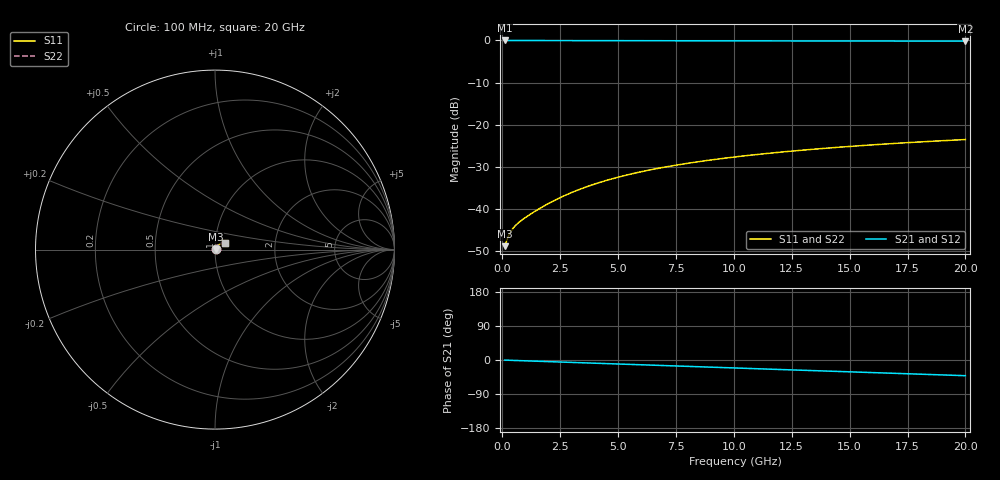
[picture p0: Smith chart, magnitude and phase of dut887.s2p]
! Touchstone file exported from HFSS 2026.1.0
!  File:  C:/ffzhzh/LocalFiles/Ansys_Project_Files/temp_train_BSMRDL_887_1783171156_55132.aedt
!  Generated:  09:20:24 PM Jul  4, 2026
!  Design:  BSMRDL
!  Project:  temp_train_BSMRDL_887_1783171156_55132
! Variables:
!  h_bsmrdl = 3.41um
!  h_ox = 20um
!  h_rdl = 5um
!  h_sub = 80um
!  h_tmrdl = 5um
!  h_tsv = 80um
!  h_via = 3um
!  l_bsmrdl = 732.5um
!  l_sub = 1132.5um
!  l_tmrdl = 200um
!  m_sub = 200um
!  pitch = 29.51um
!  r_tsv = 6um
!  s_tmrdl = 10um
!  w_bsmrdl = 24.04um
!  w_sub = 500um
!  w_tmrdl = 12um
!  x_tsv_center1 = 206um
!  x_tsv_center2 = 962.54um
!  x_tsv_center3 = 1174.54um
!  x_tsv_center4 = 1931.08um
!  x_tsv_center5 = 2143.08um
!  x_tsv_center6 = 2899.62um
# GHz S MA R 50.000000
! Terminal data exported
! Port[1] = BSM_RDL1_1_T1
! Port[2] = BSM_RDL1_1_T2
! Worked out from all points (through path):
!   200 points, 100 MHz to 20 GHz, reference 50 ohm
!   highest |S21| = -0.03 dB at 100 MHz (marker M1); lowest = -0.2 dB at 20 GHz (marker M2)
!   group delay of S21, straight-line fit = 5.73 ps
!   lowest |S11| = -48.8 dB at 100 MHz (marker M3), VSWR 1.01, Z = 50.3 + j0.107 ohm
!   |S11| at or under -10 dB: start of sweep to end of sweep
!   |S22| runs from -48.8 to -23.5 dB; largest |S21 - S12| = 2.7e-15
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0.1  0.003629 17.0  0.9965 -0.2  0.9965 -0.2  0.003629 17.0
! Gamma 0 0 0 0
! Port Impedance 50 0 50 0
0.2  0.004307 26.7  0.9962 -0.5  0.9962 -0.5  0.004307 26.7
0.3  0.005002 31.2  0.9957 -0.7  0.9957 -0.7  0.005004 31.2
0.4  0.005594 33.5  0.9954 -0.9  0.9954 -0.9  0.005598 33.6
0.5  0.006086 35.2  0.9951 -1.1  0.9951 -1.1  0.006092 35.2
0.6  0.006508 36.6  0.9949 -1.4  0.9949 -1.4  0.006515 36.6
0.7  0.006888 38.1  0.9947 -1.6  0.9947 -1.6  0.006897 38.1
0.9  0.007593 41.0  0.9944 -2.0  0.9944 -2.0  0.007603 41.0
1.5  0.00972 48.7  0.994 -3.2  0.994 -3.2  0.009731 48.6
2.1  0.01204 53.6  0.9936 -4.5  0.9936 -4.5  0.01205 53.5
2.8  0.01489 56.8  0.9931 -6.0  0.9931 -6.0  0.0149 56.7
3.5  0.01778 58.2  0.9925 -7.5  0.9925 -7.5  0.01779 58.0
4.2  0.02065 58.5  0.9919 -9.0  0.9919 -9.0  0.02066 58.4
5  0.02385 58.2  0.9911 -10.6  0.9911 -10.6  0.02387 58.0
5.9  0.02732 57.2  0.9901 -12.5  0.9901 -12.5  0.02735 57.1
6.8  0.03064 56.0  0.9891 -14.4  0.9891 -14.4  0.03068 55.8
8.3  0.03585 53.6  0.9876 -17.5  0.9876 -17.5  0.03591 53.3
10.1  0.04161 50.5  0.9858 -21.2  0.9858 -21.2  0.0417 50.1
11.7  0.04636 47.7  0.9843 -24.5  0.9843 -24.5  0.04647 47.3
13.4  0.05108 44.7  0.9828 -28.0  0.9828 -28.0  0.05122 44.2
16.7  0.05939 39.0  0.9803 -34.7  0.9803 -34.7  0.05959 38.3
20  0.06667 33.2  0.9782 -41.4  0.9782 -41.4  0.06694 32.3
